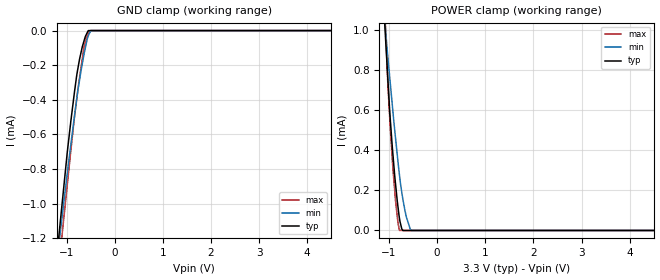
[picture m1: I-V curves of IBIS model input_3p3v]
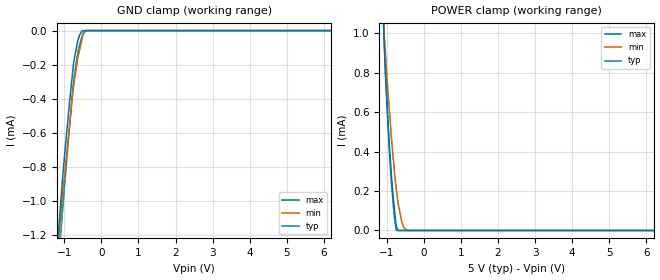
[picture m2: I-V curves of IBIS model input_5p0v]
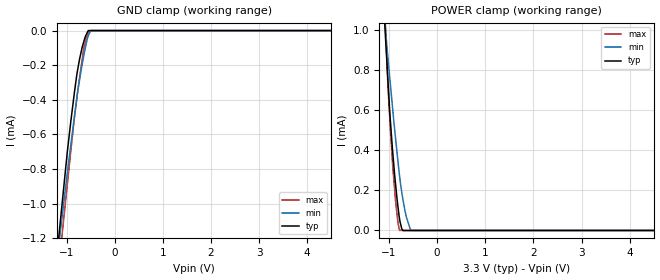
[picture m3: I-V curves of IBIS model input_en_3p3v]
|Texas Instruments Incorporated
|16-Bit, Octal Channel, Ultra-Low Glitch, Voltage Output DAC with 2.5V,
|2ppm/C Internal Reference
| Marketing part#   Digital Voltage Range   Package-type   #pins
| DAC8568IAPW   2.7 to 5.5V   TSSOP   16
| DAC8568IAPWR   2.7 to 5.5V   TSSOP   16
| DAC8568IBPW   2.7 to 5.5V   TSSOP   16
| DAC8568IBPWR   2.7 to 5.5V   TSSOP   16
| DAC8568ICPW   2.7 to 5.5V   TSSOP   16
| DAC8568ICPWR   2.7 to 5.5V   TSSOP   16
| DAC8568IDPW   2.7 to 5.5V   TSSOP   16
| DAC8568IDPWR   2.7 to 5.5V   TSSOP   16
[IBIS Ver]   3.2
[File name]   dac8568.ibs
|SIMDE Ver   V2.0 - 201002 - RHL4 - Build 372
[File Rev]   1.2
[Date]   07/14/2010
[Source]
|   Texas Instruments Incorporated.
|   Analog-eLab Design Center, HPA
|   12500 TI Blvd
|   Dallas, TX -75243
|   e-mail: elab_ibis@list.ti.com
| Model generated from simulations in TISPICE
[Notes]   Revision History:
|   Rev 1.0: 06/28/2010
|   - Initial version of the model
|   - Model generated from simulations in TISPICE
|   - Model matched to SPICE simulation
|   - Model names with a trailing 3p3v contains the model for
|   3.3V [3.0V and 3.6V]. Model names with trailing 5p0v contains
|   the model for 5.0V [4.5V and 5.5V] operation.
|   - C_comp although listed in numerical order of value are obtained
|   from varying PVT conditions. For PVT conditions for each specific
|   value refer the buffer description under respective [Model]. IBIS
|   model user is responsible for using appropriate C_comp to simulate
|   for Signal Integrity.
|   Rev 1.1: 07/09/2010
|   - Updated [Package] and [Pin] R,L,C values as per new package
|   details.
|   - Removed C_comp (ON_state) and C_comp (OFF state) values from
|   all models.
|   Rev 1.2: 07/14/2010
|   - Updated Vinl and Vinh for all models and added Model spec
|   for the same
|   - Removed extra data points beyond -AVDDtyp & 2*AVDDtyp in IV data
|   - Added notes on junction temperatures for all models
[Disclaimer]
| This model is designed as an aid for customers of Texas Instruments.
| TI and its licensors and suppliers make no warranties, either expressed
| or implied, with respect to this  model, including the warranties of
| merchantability or fitness for a particular purpose. The model is
| provided solely on an "as is" basis. The entire risk as to its quality
| and performance is with the customer.
[Copyright]
|(C) Copyright 2010 Texas Instruments Incorporated.All rights reserved.
|   DAC8568
[Component]   DAC8568
[Manufacturer]  TI
[Package]   | 16 TSSOP - PW package
|   typ   min   max
R_pkg   0.06839   0.05639   0.08039
L_pkg   2.599405nH   1.94657nH   3.25224nH
C_pkg   0.41956pF   0.34317pF   0.49595pF
|-------------------------PINS------------------------------------------------
[Pin]  signal_name   model_name   R_pin   L_pin   C_pin
1   _LDAC   INPUT_EN   0.07459   3.19554nH   0.49291pF
2   _SYNC   INPUT   0.07456   2.28670nH   0.36377pF
3   AVDD   POWER   0.03294   1.74492nH   0.37935pF
4   VOUTA   NC   0.06937   2.18714nH   0.35955pF
5   VOUTC   NC   0.05639   1.94657nH   0.34701pF
6   VOUTE   NC   0.06972   2.19489nH   0.36020pF
7   VOUTG   NC   0.05650   1.95440nH   0.34317pF
8   VREFIN/VREFOUT  NC   0.07397   3.19059nH   0.49111pF
9   _CLR   INPUT_EN   0.06963   3.11021nH   0.48724pF
10   VOUTH   NC   0.05650   1.95433nH   0.34320pF
11   VOUTF   NC   0.06972   2.19492nH   0.36021pF
12   VOUTD   NC   0.05639   1.94674nH   0.34699pF
13   VOUTB   NC   0.06937   2.18715nH   0.36030pF
14   GND   GND   0.03248   1.73513nH   0.37845pF
15   Din   INPUT   0.08039   2.39654nH   0.36905pF
16   SCLK   INPUT   0.07762   3.25224nH   0.49595pF
|   Model Selectors
[Model Selector]   INPUT
input_3p3v   3.3V digital input
input_5p0v   5.0V digital input
[Model Selector]   INPUT_EN
input_en_3p3v   3.3V digital input with enable
input_en_5p0v   5.0V digital input with enable
| Models and submodels in the file (4): input_3p3v (Input), input_5p0v (Input), input_en_3p3v (Input), input_en_5p0v (Input)
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|   INPUT 3.3V Model
[Model]   input_3p3v
Model_type   Input
Vinl = 0.4
Vinh = 2.7
|   typ   min   max
|   (nom PVT)   (Fast PVT)  (Slow PVT)
C_comp   4.648e-13   4.575e-13   5.351e-13
|Where nom PVT is Nom process, 3.3V, 25C
|Fast PVT is Strong Process, 3.6V, -40C
|Slow PVT is Weak Process,   3.0V, 125C
[Model Spec]
Vinl   0.4   0.0   0.8
Vinh   2.7   1.8   3.6
[Voltage Range]   3.3   3   3.6
| Junction temperatures used in [Temperature Range]
[Temperature Range]   25   125   -40
[Power Clamp Reference]   3.3   3   3.6
[GND Clamp Reference]   0   0   0
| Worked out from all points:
|   GND clamp passes 1 mA (typ) near -1.09 V on its own axis
|   POWER clamp passes 1 mA (typ) near -1.08 V on its own axis
[GND Clamp]
|   Voltage   I(typ)   I(min)   I(max)
-3.3V     -7.77mA    -6.522mA   -9.24mA
-1.161V   -1.192mA   -1.237mA   -1.375mA
-1.079V   -964.2uA   -1.045mA   -1.143mA
-980.1mV  -691.9uA   -815.2uA   -879.5uA
-834mV    -353.1uA   -492.3uA   -497.2uA
-785.4mV  -253uA     -389.6uA   -389.1uA
-729.3mV  -165.2uA   -285uA     -269.9uA
-636mV    -59.23uA   -135.8uA   -94.01uA
-570mV    -12.08uA   -48.29uA   -29.79uA
-549.6mV  -526.8nA   -32.37uA   -15.26uA
-483mV    0A         0A         0A
6.6V      0A         0A         0A
[POWER Clamp]
|   Voltage   I(typ)   I(min)   I(max)
-3.3V     13.63mA    10.97mA    16.39mA
-1.104V   1.1mA      1.092mA    1.198mA
-1.076V   970.6uA    1.01mA     1.029mA
-1.018V   726uA      844.7uA    698.8uA
-920.4mV  381.8uA    594.5uA    311.9uA
-866.4mV  234.7uA    463.8uA    151.6uA
-816mV    121.1uA    346.4uA    42.21uA
-778.8mV  53.34uA    267.3uA    0A
-735mV    7.701uA    189.2uA    0A
-657mV    0A         85.55uA    0A
-535.2mV  0A         0A         0A
6.6V      0A         0A         0A
|   INPUT 5.0V Model
[Model]   input_5p0v
Model_type   Input
Vinl = 0.4
Vinh = 3.65
|   typ   min   max
|   (nom PVT)   (Fast PVT)  (Slow PVT)
C_comp   4.340e-13   3.990e-13   5.350e-13
|Where nom PVT is Nom process, 3.3V, 25C
|Fast PVT is Strong Process, 3.6V, -40C
|Slow PVT is Weak Process,   3.0V, 125C
[Model Spec]
Vinl   0.4   0.0   0.8
Vinh   3.65   1.8   5.5
[Voltage Range]   5   4.5   5.5
|Juntion temperatures are used in [Temperature Range]
[Temperature Range]   25   125   -40
[Power Clamp Reference]   5   4.5   5.5
[GND Clamp Reference]   0   0   0
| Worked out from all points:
|   GND clamp passes 1 mA (typ) near -1.09 V on its own axis
|   POWER clamp passes 1 mA (typ) near -1.08 V on its own axis
[GND Clamp]
|   Voltage   I(typ)   I(min)   I(max)
-5V       -13.07mA   -10.77mA   -15.7mA
-1.155V   -1.176mA   -1.225mA   -1.362mA
-1.079V   -959.1uA   -1.043mA   -1.144mA
-980mV    -701.4uA   -822.6uA   -876.8uA
-865mV    -433.4uA   -567.6uA   -581.6uA
-750mV    -191.8uA   -325.9uA   -301.4uA
-640mV    -62.78uA   -166.7uA   -140.5uA
-600mV    -32.94uA   -125.4uA   -92.68uA
-530mV    -2.022uA   -57.47uA   -41.2uA
-486.5mV  0A         -17.59uA   -11.99uA
-405.5mV  0A         0A         0A
10V       0A         0A         0A
[POWER Clamp]
|   Voltage   I(typ)   I(min)   I(max)
-5V       23.6mA     18.99mA    28.37mA
-1.205V   1.603mA    1.456mA    1.84mA
-1.071V   949.7uA    998.9uA    998.9uA
-1.056V   876.3uA    952.9uA    904.4uA
-996mV    645.1uA    780.2uA    641.5uA
-930mV    429.9uA    607uA      402.3uA
-875mV    280.1uA    470uA      240.8uA
-809mV    134.8uA    329.6uA    92.56uA
-745mV    20.5uA     210.6uA    1.43uA
-594.5mV  0A         42.08uA    0A
-451.5mV  0A         0A         0A
10V       0A         0A         0A
|   INPUT_EN 3.3V Model
[Model]   input_en_3p3v
Model_type   Input
Vinl = 0.4
Vinh = 2.7
|   typ   min   max
|   (nom PVT)   (Fast PVT)  (Slow PVT)
C_comp   4.719e-13   4.568e-13   5.320e-13
|Where nom PVT is Nom process, 3.3V, 25C
|Fast PVT is Strong Process, 3.6V, -40C
|Slow PVT is Weak Process,   3.0V, 125C
[Model Spec]
Vinl   0.4   0.0   0.8
Vinh   2.7   1.8   3.6
[Voltage Range]   3.3   3   3.6
| Junction temperatures used in [Temperature Range]
[Temperature Range]   25   125   -40
[Power Clamp Reference]   3.3   3   3.6
[GND Clamp Reference]   0   0   0
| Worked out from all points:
|   GND clamp passes 1 mA (typ) near -1.09 V on its own axis
|   POWER clamp passes 1 mA (typ) near -1.08 V on its own axis
[GND Clamp]
|   Voltage   I(typ)   I(min)   I(max)
-3.3V     -7.77mA    -6.522mA   -9.24mA
-1.161V   -1.192mA   -1.237mA   -1.375mA
-1.079V   -964.2uA   -1.045mA   -1.143mA
-980.1mV  -691.9uA   -815.2uA   -879.5uA
-834mV    -353.1uA   -492.3uA   -497.2uA
-785.4mV  -253uA     -389.6uA   -389.1uA
-729.3mV  -165.2uA   -285uA     -269.9uA
-636mV    -59.23uA   -135.8uA   -94.01uA
-570mV    -12.08uA   -48.29uA   -29.79uA
-549.6mV  -526.8nA   -32.37uA   -15.26uA
-486mV    0A         0A         0A
6.6V      0A         0A         0A
[POWER Clamp]
|   Voltage   I(typ)   I(min)   I(max)
-3.3V     13.63mA    10.97mA    16.39mA
-1.104V   1.1mA      1.092mA    1.198mA
-1.076V   970.6uA    1.01mA     1.029mA
-1.018V   726uA      844.7uA    698.8uA
-920.4mV  381.2uA    594.5uA    311.9uA
-866.4mV  234.7uA    463.8uA    151.6uA
-816mV    121.1uA    346.4uA    42.21uA
-778.8mV  53.34uA    267.3uA    0A
-735mV    7.701uA    189.2uA    0A
-657mV    0A         85.55uA    0A
-535.2mV  0A         0A         0A
6.6V      0A         0A         0A
